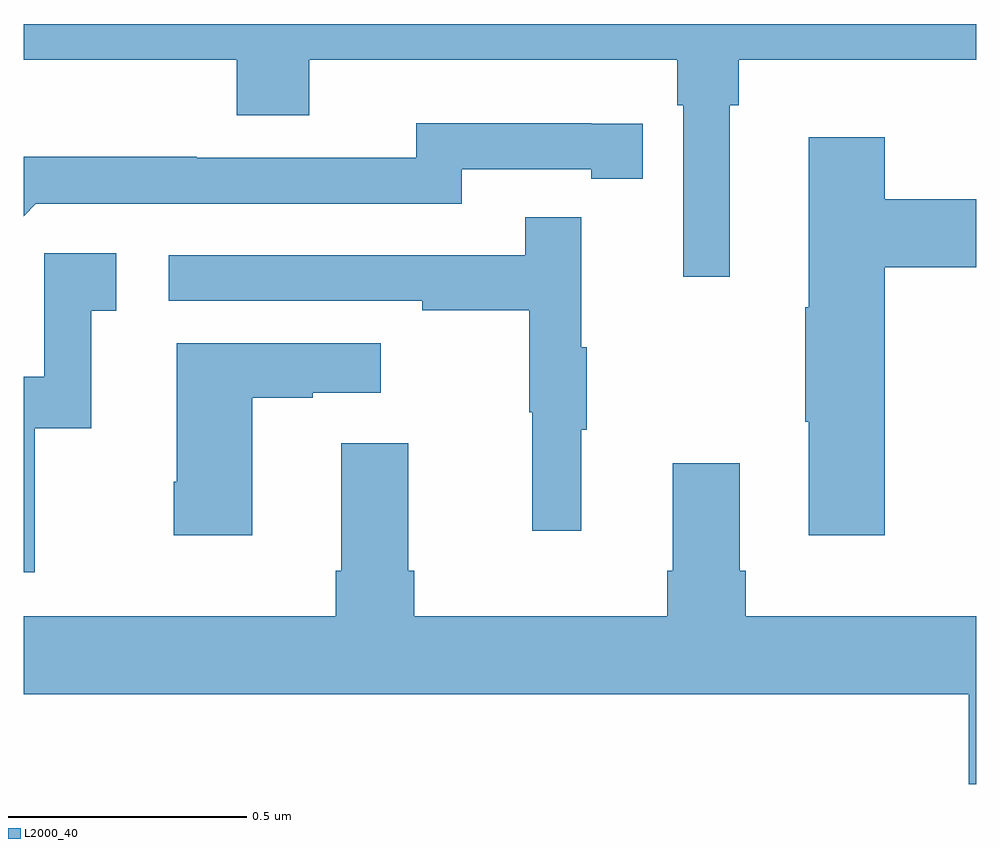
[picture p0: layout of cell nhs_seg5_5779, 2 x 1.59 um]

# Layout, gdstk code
import gdstk
lib = gdstk.Library(unit=1e-6, precision=1e-09)
def P(c, l, *ps):  # polygons
    for p in ps: c.add(gdstk.Polygon(p, *l))
L2000_40 = (2000, 40)

nhs_seg5_5779 = lib.new_cell('nhs_seg5_5779')
P(nhs_seg5_5779, L2000_40, [(188.482,892.628),(188.501,892.628),(188.501,892.724),(189,892.724),(189,892.799),(187,892.799),(187,892.724),(187.448,892.724),(187.448,892.607),(187.6,892.607),(187.6,892.724),(188.372,892.724),(188.372,892.628),(188.385,892.628),(188.385,892.269),(188.482,892.269)],
  [(187.026,892.422),(187.92,892.422),(187.92,892.494),(188.192,892.494),(188.192,892.474),(188.3,892.474),(188.3,892.59),(188.192,892.59),(188.192,892.591),(187.824,892.591),(187.824,892.518),(187.364,892.518),(187.364,892.52),(187,892.52),(187,892.396)],
  [(188.807,892.289),(189,892.289),(189,892.431),(188.807,892.431),(188.807,892.561),(188.648,892.561),(188.648,892.205),(188.641,892.205),(188.641,891.964),(188.648,891.964),(188.648,891.726),(188.807,891.726)],
  [(188.171,891.947),(188.182,891.947),(188.182,892.121),(188.171,892.121),(188.171,892.393),(188.053,892.393),(188.053,892.314),(187.305,892.314),(187.305,892.218),(187.837,892.218),(187.837,892.198),(188.061,892.198),(188.061,891.984),(188.068,891.984),(188.068,891.735),(188.171,891.735)],
  [(187.024,891.951),(187.142,891.951),(187.142,892.197),(187.195,892.197),(187.195,892.318),(187.044,892.318),(187.044,892.059),(187,892.059),(187,891.648),(187.024,891.648)],
  [(187.48,892.015),(187.607,892.015),(187.607,892.025),(187.75,892.025),(187.75,892.129),(187.322,892.129),(187.322,891.838),(187.315,891.838),(187.315,891.726),(187.48,891.726)],
  [(189,891.556),(188.516,891.556),(188.516,891.652),(188.503,891.652),(188.503,891.877),(188.363,891.877),(188.363,891.652),(188.351,891.652),(188.351,891.556),(187.82,891.556),(187.82,891.652),(187.807,891.652),(187.807,891.919),(187.667,891.919),(187.667,891.652),(187.655,891.652),(187.655,891.556),(187,891.556),(187,891.392),(188.984,891.392),(188.984,891.204),(189,891.204)])

lib.write_gds('nhs_seg5_5779.gds')
